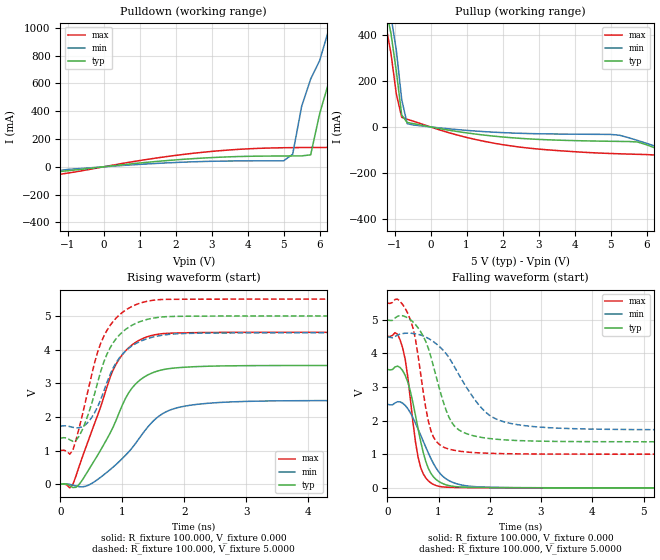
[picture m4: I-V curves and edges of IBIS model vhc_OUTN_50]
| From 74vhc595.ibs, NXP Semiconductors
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|   Model vhc_OUTN_50
[Model]   vhc_OUTN_50
Model_type   Output
Polarity   Non-Inverting
Vmeas =  2.5000V
Cref  = 50.0000pF
Rref  =  1.0000k
Vref  =  0.000V
C_comp   0.90pF   0.67pF   1.31pF
[Model Spec]
| Note: The input and output voltage ratings may be exceeded if the input and
|   output current ratings are observed (please refer to the data sheet)
|   Subparameter   typ   min   max
| Timing Thresholds
Vmeas   2.5   2.25   2.75
|Ambient temperature:   25.0000   85.0000   -40.0000
[Temperature Range]   55.0000   110.0000   -5.0000
[Voltage Range]   5.0000V   4.5000V   5.5000V
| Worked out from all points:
|   slope of the pulldown table from 0 to 0.75 V, typ, clamps not added: 35.9 ohm
|   slope of the pullup table from 0 to 0.75 V, typ, clamps not added: 37.2 ohm
|   rising waveform, R_fixture 100.000, V_fixture 0.000: 20-80 % time 593ps typ, 724ps min, 540ps max; typ from 0 V to 3.53 V
|   rising waveform, R_fixture 100.000, V_fixture 5.0000: 20-80 % time 427ps typ, 449ps min, 428ps max; typ from 1.37 V to 5 V
|   falling waveform, R_fixture 100.000, V_fixture 0.000: 20-80 % time 313ps typ, 464ps min, 232ps max; typ from 3.53 V to 0 V
|   falling waveform, R_fixture 100.000, V_fixture 5.0000: 20-80 % time 435ps typ, 728ps min, 292ps max; typ from 5 V to 1.37 V
|Process Range   nominal   slow   fast
[Pulldown]
| voltage   I(typ)   I(min)   I(max)
-5.5V     -304.7mA   -244.4mA   -420.6mA
-1.6V     -52.82mA   -44.3mA    -71.19mA
2.25V     54.55mA    33.73mA    90.24mA
5V        77.97mA    43.25mA    137.3mA
5.25V     78.26mA    90.83mA    138mA
5.5V      78.46mA    436mA      138.7mA
5.75V     86.23mA    632.3mA    139.2mA
6V        382.8mA    765.2mA    139.3mA
6.25V     606.6mA    985.4mA    139.5mA
6.75V     978.5mA    1.479A     593.9mA
7.25V     1.477A     1.981A     988mA
11V       5.298A     5.791A     4.82A
[Pullup]
| voltage   I(typ)   I(min)   I(max)
-6.5V     5.717A     5.741A     5.691A
-1.25V    521.9mA    583.1mA    449.8mA
-1.1V     409.1mA    483.8mA    321.7mA
-950mV    242.7mA    334.7mA    143.7mA
-800mV    51.78mA    119.1mA    42mA
-650mV    19.63mA    14.69mA    33.56mA
2V        -43.78mA   -24.8mA    -77.21mA
5V        -62.56mA   -32.65mA   -115.8mA
5.75V     -65.59mA   -58.92mA   -119.4mA
6.5V      -108.9mA   -97.5mA    -134mA
9.75V     -328.6mA   -269.4mA   -442.8mA
11V       -414.1mA   -336.1mA   -565.4mA
[Ramp]
| variable   typ   min   max
dV/dt_r   2.117V/593.251ps   1.493V/724.062ps   2.708V/539.812ps
dV/dt_f   2.177V/434.826ps   1.664V/728.595ps   2.698V/291.947ps
R_load = 100.000
[Rising Waveform]
R_fixture   = 100.000
V_fixture   = 0.000
V_fixture_min = 0.000
V_fixture_max = 0.000
| time   V(typ)   V(min)   V(max)
0s        402.7pV    18.45nV    554fV
200ps     -98.16mV   -25.59mV   -9.537mV
300ps     -9.255mV   -71.27mV   519mV
450ps     411.2mV    -30.31mV   1.297V
900ps     1.909V     590.1mV    3.574V
1.15ns    2.845V     1.063V     4.132V
1.45ns    3.282V     1.786V     4.409V
1.85ns    3.455V     2.254V     4.492V
2.65ns    3.516V     2.437V     4.511V
9.75ns    3.528V     2.488V     4.514V
[Rising Waveform]
R_fixture   = 100.000
V_fixture   = 5.0000
V_fixture_min = 4.5000
V_fixture_max = 5.5000
| time   V(typ)   V(min)   V(max)
0s        1.371V     1.726V     1.003V
150ps     1.321V     1.713V     892.4mV
300ps     1.424V     1.679V     1.657V
450ps     2.088V     1.85V      2.823V
600ps     3.022V     2.301V     3.927V
750ps     3.862V     3.023V     4.57V
1ns       4.522V     3.863V     5.106V
1.35ns    4.872V     4.292V     5.415V
2.25ns    4.995V     4.488V     5.498V
9.75ns    5V         4.5V       5.5V
[Falling Waveform]
R_fixture   = 100.000
V_fixture   = 0.000
V_fixture_min = 0.000
V_fixture_max = 0.000
| time   V(typ)   V(min)   V(max)
0s        3.528V     2.488V     4.514V
150ps     3.599V     2.526V     4.618V
250ps     3.582V     2.559V     4.402V
350ps     3.346V     2.452V     3.819V
600ps     1.761V     1.75V      915.3mV
750ps     787.3mV    1.214V     297.1mV
950ps     250.8mV    593.2mV    69.56mV
1.25ns    53.26mV    180mV      14.7mV
1.8ns     10.71mV    28.65mV    4.145mV
9.75ns    51.12nV    2.222uV    3.517nV
[Falling Waveform]
R_fixture   = 100.000
V_fixture   = 5.0000
V_fixture_min = 4.5000
V_fixture_max = 5.5000
| time   V(typ)   V(min)   V(max)
0s        5V         4.5V       5.5V
200ps     5.107V     4.548V     5.617V
400ps     5.056V     4.604V     5.192V
550ps     4.859V     4.585V     4.416V
650ps     4.648V     4.549V     3.398V
850ps     3.902V     4.403V     1.703V
1.2ns     2.113V     3.885V     1.155V
1.9ns     1.487V     2.28V      1.034V
2.5ns     1.411V     1.891V     1.013V
9.75ns    1.371V     1.726V     1.003V
